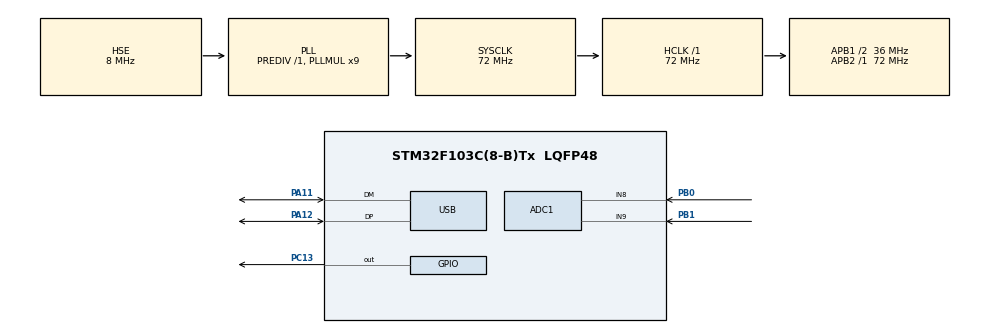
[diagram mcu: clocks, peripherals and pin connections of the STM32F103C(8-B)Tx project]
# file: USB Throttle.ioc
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ADC1.Channel-0\#ChannelRegularConversion=ADC_CHANNEL_8
ADC1.Channel-1\#ChannelRegularConversion=ADC_CHANNEL_9
ADC1.ContinuousConvMode=ENABLE
ADC1.NbrOfConversion=2
ADC1.NbrOfConversionFlag=1
ADC1.Rank-0\#ChannelRegularConversion=1
ADC1.Rank-1\#ChannelRegularConversion=2
ADC1.SamplingTime-0\#ChannelRegularConversion=ADC_SAMPLETIME_239CYCLES_5
ADC1.SamplingTime-1\#ChannelRegularConversion=ADC_SAMPLETIME_239CYCLES_5
ADC1.master=1
Dma.ADC1.0.Direction=DMA_PERIPH_TO_MEMORY
Dma.ADC1.0.Instance=DMA1_Channel1
Dma.ADC1.0.MemDataAlignment=DMA_MDATAALIGN_WORD
Dma.ADC1.0.MemInc=DMA_MINC_ENABLE
Dma.ADC1.0.Mode=DMA_CIRCULAR
Dma.ADC1.0.PeriphDataAlignment=DMA_PDATAALIGN_WORD
Dma.ADC1.0.PeriphInc=DMA_PINC_DISABLE
Dma.ADC1.0.Priority=DMA_PRIORITY_LOW
Dma.Request0=ADC1
Mcu.Family=STM32F1
Mcu.Name=STM32F103C(8-B)Tx
Mcu.Package=LQFP48
NVIC.DMA1_Channel1_IRQn=true\:0\:0\:false\:false\:true\:false\:true
NVIC.PriorityGroup=NVIC_PRIORITYGROUP_4
NVIC.USB_LP_CAN1_RX0_IRQn=true\:0\:0\:false\:false\:true\:false\:true
PA11.Mode=Device
PA11.Signal=USB_DM
PA12.Mode=Device
PA12.Signal=USB_DP
PA13.Mode=Serial_Wire
PA13.Signal=SYS_JTMS-SWDIO
PA14.Mode=Serial_Wire
PA14.Signal=SYS_JTCK-SWCLK
PB0.Signal=ADCx_IN8
PB1.Signal=ADCx_IN9
PC13-TAMPER-RTC.Signal=GPIO_Output
PD0-OSC_IN.Mode=HSE-External-Oscillator
PD0-OSC_IN.Signal=RCC_OSC_IN
PD1-OSC_OUT.Mode=HSE-External-Oscillator
PD1-OSC_OUT.Signal=RCC_OSC_OUT
ProjectManager.HeapSize=0x200
ProjectManager.StackSize=0x400
ProjectManager.TargetToolchain=STM32CubeIDE
RCC.ADCPresc=RCC_ADCPCLK2_DIV6
RCC.AHBFreq_Value=72000000
RCC.APB1CLKDivider=RCC_HCLK_DIV2
RCC.APB1Freq_Value=36000000
RCC.APB1TimFreq_Value=72000000
RCC.APB2Freq_Value=72000000
RCC.APB2TimFreq_Value=72000000
RCC.HCLKFreq_Value=72000000
RCC.PLLMUL=RCC_PLL_MUL9
RCC.SYSCLKFreq_VALUE=72000000
RCC.SYSCLKSource=RCC_SYSCLKSOURCE_PLLCLK
RCC.USBFreq_Value=48000000
RCC.USBPrescaler=RCC_USBCLKSOURCE_PLL_DIV1_5
SH.ADCx_IN8.0=ADC1_IN8,IN8
SH.ADCx_IN9.0=ADC1_IN9,IN9
USB_DEVICE.CLASS_NAME_FS=CUSTOM_HID
USB_DEVICE.MANUFACTURER_STRING=Kramer Electronics Ltd.
USB_DEVICE.PID_CUSTOMHID_FS=42069 
USB_DEVICE.PRODUCT_STRING_CUSTOMHID_FS=DualThrottle\u2122 Reverse
USB_DEVICE.USBD_CUSTOM_HID_REPORT_DESC_SIZE=33
USB_DEVICE.VID=7857
USB_DEVICE.VirtualMode=CustomHid
USB_DEVICE.VirtualModeFS=Custom_Hid_FS
VP_USB_DEVICE_VS_USB_DEVICE_CUSTOM_HID_FS.Mode=CUSTOM_HID_FS
board=custom

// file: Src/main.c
/* USER CODE BEGIN Header */
/**
  ******************************************************************************
  * @file           : main.c
  * @brief          : Main program body
  ******************************************************************************
  * @attention
  *
  * <h2><center>&copy; Copyright (c) 2020 STMicroelectronics.
  * All rights reserved.</center></h2>
  *
  * This software component is licensed by ST under Ultimate Liberty license
  * SLA0044, the "License"; You may not use this file except in compliance with
  * the License. You may obtain a copy of the License at:
  *                             www.st.com/SLA0044
  *
  ******************************************************************************
  */
/* USER CODE END Header */

#include "main.h"
#include "usb_device.h"

/* USER CODE BEGIN Includes */
#include "stdbool.h"
#include "stdint.h"
#include "math.h"
#include "usbd_custom_hid_if.h"
extern USBD_HandleTypeDef hUsbDeviceFS;
/* USER CODE END Includes */

/* USER CODE BEGIN PD */
#define SAMPLE_DURATION 5000
/* USER CODE END PD */

ADC_HandleTypeDef hadc1;
DMA_HandleTypeDef hdma_adc1;

/* USER CODE BEGIN PV */

uint32_t last_time;
bool calibrated = false;

/* USER CODE END PV */

void SystemClock_Config(void);
static void MX_GPIO_Init(void);
static void MX_DMA_Init(void);
static void MX_ADC1_Init(void);

/* USER CODE BEGIN 0 */
uint8_t adc_to_percent(uint16_t adc_value)
{
	return round((adc_value / 4095.0) * 100);
}
/* USER CODE END 0 */

int main(void)
{
  /* USER CODE BEGIN 1 */

  uint32_t adcBuffer[2];

  /* USER CODE END 1 */

  /* MCU Configuration--------------------------------------------------------*/

  /* Reset of all peripherals, Initializes the Flash interface and the Systick. */
  HAL_Init();

  /* Configure the system clock */
  SystemClock_Config();

  /* Initialize all configured peripherals */
  MX_GPIO_Init();
  MX_USB_DEVICE_Init();
  MX_DMA_Init();
  MX_ADC1_Init();
  /* USER CODE BEGIN 2 */

  struct throttle_report_t
  {
	  uint16_t throttle1;
	  uint16_t throttle2;
	  uint16_t reverser1;
	  uint16_t reverser2;
  };

  HAL_ADC_Start_DMA(&hadc1, adcBuffer, 2);
  uint8_t max_percent[2];
  uint8_t idle_percent[2];
  uint16_t idle_value[2];

  last_time = HAL_GetTick();

  /* USER CODE END 2 */

  /* Infinite loop */
  /* USER CODE BEGIN WHILE */
  while (1)
  {
	  if (calibrated)
	  {
		  //this should be where the while looop ends up after calibrated

		  //top value is 53, bottom is 21...

		  struct throttle_report_t throttleReport;

		  throttleReport.throttle1 = (((adc_to_percent(adcBuffer[0]) - (max_percent[0] - 21)) / 22.0)) * 4095;
		  throttleReport.throttle2 = (((adc_to_percent(adcBuffer[1]) - (max_percent[1] - 22)) / 22.0)) * 4095;
		  throttleReport.reverser1 = ((((max_percent[0] - 22) - (adc_to_percent(adcBuffer[0]))) / 12.0)) * 4095;
		  throttleReport.reverser2 = ((((max_percent[1] - 22) - (adc_to_percent(adcBuffer[1]))) / 12.0)) * 4095;

		  USBD_CUSTOM_HID_SendReport(&hUsbDeviceFS, &throttleReport, sizeof(struct throttle_report_t));
	  }
	  else
	  {
		  if (HAL_GetTick() - last_time > SAMPLE_DURATION)
		  {
			  last_time = HAL_GetTick();
			  calibrated = true;
			  for (uint8_t i = 0; i < 2; i++)
			  {
				  idle_percent[i] = max_percent[i] - 22;
				  idle_value[i] = ((idle_percent[i] / 100.0) * 4095);
			  }
		  }
		  else
		  {
			  //this should be where the while loop ends up before calibrated
			  for (uint8_t i = 0; i < 2; i++)
			  {
				  uint8_t current_percent = adc_to_percent(adcBuffer[i]);
				  if ((max_percent[i] < current_percent) && (current_percent <= 100))
				  {
					  max_percent[i] = current_percent;
				  }
			  }
		  }
	  }

    /* USER CODE END WHILE */

  }
}

void SystemClock_Config(void)
{
  RCC_OscInitTypeDef RCC_OscInitStruct = {0};
  RCC_ClkInitTypeDef RCC_ClkInitStruct = {0};
  RCC_PeriphCLKInitTypeDef PeriphClkInit = {0};

  /** Initializes the CPU, AHB and APB busses clocks
  */
  RCC_OscInitStruct.OscillatorType = RCC_OSCILLATORTYPE_HSE;
  RCC_OscInitStruct.HSEState = RCC_HSE_ON;
  RCC_OscInitStruct.HSEPredivValue = RCC_HSE_PREDIV_DIV1;
  RCC_OscInitStruct.HSIState = RCC_HSI_ON;
  RCC_OscInitStruct.PLL.PLLState = RCC_PLL_ON;
  RCC_OscInitStruct.PLL.PLLSource = RCC_PLLSOURCE_HSE;
  RCC_OscInitStruct.PLL.PLLMUL = RCC_PLL_MUL9;
  if (HAL_RCC_OscConfig(&RCC_OscInitStruct) != HAL_OK)
  {
    Error_Handler();
  }
  /** Initializes the CPU, AHB and APB busses clocks
  */
  RCC_ClkInitStruct.ClockType = RCC_CLOCKTYPE_HCLK|RCC_CLOCKTYPE_SYSCLK
                              |RCC_CLOCKTYPE_PCLK1|RCC_CLOCKTYPE_PCLK2;
  RCC_ClkInitStruct.SYSCLKSource = RCC_SYSCLKSOURCE_PLLCLK;
  RCC_ClkInitStruct.AHBCLKDivider = RCC_SYSCLK_DIV1;
  RCC_ClkInitStruct.APB1CLKDivider = RCC_HCLK_DIV2;
  RCC_ClkInitStruct.APB2CLKDivider = RCC_HCLK_DIV1;

  if (HAL_RCC_ClockConfig(&RCC_ClkInitStruct, FLASH_LATENCY_2) != HAL_OK)
  {
    Error_Handler();
  }
  PeriphClkInit.PeriphClockSelection = RCC_PERIPHCLK_ADC|RCC_PERIPHCLK_USB;
  PeriphClkInit.AdcClockSelection = RCC_ADCPCLK2_DIV6;
  PeriphClkInit.UsbClockSelection = RCC_USBCLKSOURCE_PLL_DIV1_5;
  if (HAL_RCCEx_PeriphCLKConfig(&PeriphClkInit) != HAL_OK)
  {
    Error_Handler();
  }
}

static void MX_ADC1_Init(void)
{

  ADC_ChannelConfTypeDef sConfig = {0};

  /** Common config
  */
  hadc1.Instance = ADC1;
  hadc1.Init.ScanConvMode = ADC_SCAN_ENABLE;
  hadc1.Init.ContinuousConvMode = ENABLE;
  hadc1.Init.DiscontinuousConvMode = DISABLE;
  hadc1.Init.ExternalTrigConv = ADC_SOFTWARE_START;
  hadc1.Init.DataAlign = ADC_DATAALIGN_RIGHT;
  hadc1.Init.NbrOfConversion = 2;
  if (HAL_ADC_Init(&hadc1) != HAL_OK)
  {
    Error_Handler();
  }
  /** Configure Regular Channel
  */
  sConfig.Channel = ADC_CHANNEL_8;
  sConfig.Rank = ADC_REGULAR_RANK_1;
  sConfig.SamplingTime = ADC_SAMPLETIME_239CYCLES_5;
  if (HAL_ADC_ConfigChannel(&hadc1, &sConfig) != HAL_OK)
  {
    Error_Handler();
  }
  /** Configure Regular Channel
  */
  sConfig.Channel = ADC_CHANNEL_9;
  sConfig.Rank = ADC_REGULAR_RANK_2;
  if (HAL_ADC_ConfigChannel(&hadc1, &sConfig) != HAL_OK)
  {
    Error_Handler();
  }

}

static void MX_DMA_Init(void)
{

  /* DMA controller clock enable */
  __HAL_RCC_DMA1_CLK_ENABLE();

  /* DMA interrupt init */
  /* DMA1_Channel1_IRQn interrupt configuration */
  HAL_NVIC_SetPriority(DMA1_Channel1_IRQn, 0, 0);
  HAL_NVIC_EnableIRQ(DMA1_Channel1_IRQn);

}

static void MX_GPIO_Init(void)
{
  GPIO_InitTypeDef GPIO_InitStruct = {0};

  /* GPIO Ports Clock Enable */
  __HAL_RCC_GPIOC_CLK_ENABLE();
  __HAL_RCC_GPIOD_CLK_ENABLE();
  __HAL_RCC_GPIOB_CLK_ENABLE();
  __HAL_RCC_GPIOA_CLK_ENABLE();

  /*Configure GPIO pin Output Level */
  HAL_GPIO_WritePin(GPIOC, GPIO_PIN_13, GPIO_PIN_RESET);

  /*Configure GPIO pin : PC13 */
  GPIO_InitStruct.Pin = GPIO_PIN_13;
  GPIO_InitStruct.Mode = GPIO_MODE_OUTPUT_PP;
  GPIO_InitStruct.Pull = GPIO_NOPULL;
  GPIO_InitStruct.Speed = GPIO_SPEED_FREQ_LOW;
  HAL_GPIO_Init(GPIOC, &GPIO_InitStruct);

}

void Error_Handler(void)
{
}

/************************ (C) COPYRIGHT STMicroelectronics *****END OF FILE****/
